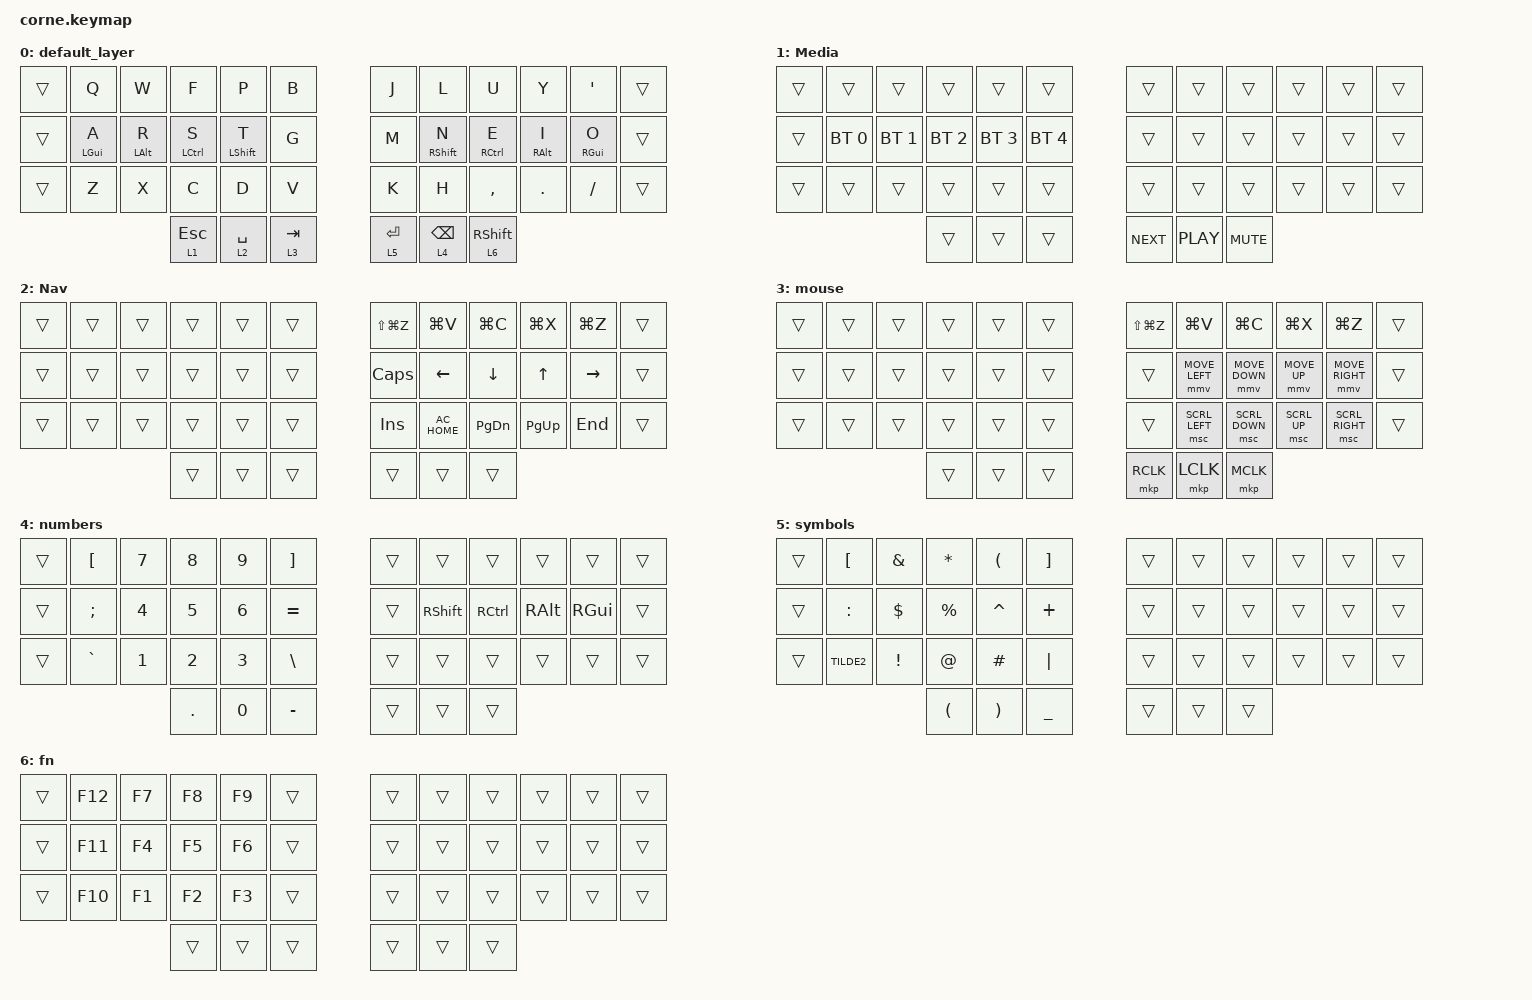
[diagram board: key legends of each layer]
/*
 * Copyright (c) 2020 The ZMK Contributors
 *
 * SPDX-License-Identifier: MIT
 */

#include <behaviors.dtsi>
#include <dt-bindings/zmk/bt.h>
#include <dt-bindings/zmk/keys.h>
#include <dt-bindings/zmk/pointing.h>

&mt {
    tapping-term-ms = <500>;
    flavor = "tap-preferred";
};

&lt { tapping-term-ms = <500>; };

/ {
    keymap {
        compatible = "zmk,keymap";

        default_layer {
            // -----------------------------------------------------------------------------------------
            // |  TAB |  Q  |  W  |  E  |  R  |  T  |   |  Y  |  U   |  I  |  O  |  P  | BSPC |
            // | CTRL |  A  |  S  |  D  |  F  |  G  |   |  H  |  J   |  K  |  L  |  ;  |  '   |
            // | SHFT |  Z  |  X  |  C  |  V  |  B  |   |  N  |  M   |  ,  |  .  |  /  | ESC  |
            //                    | GUI | LWR | SPC |   | ENT | RSE  | ALT |

            bindings = <
&trans  &kp Q           &kp W           &kp F               &kp P             &kp B        &kp J        &kp L              &kp U                &kp Y            &kp SQT          &trans
&trans  &mt LEFT_GUI A  &mt LEFT_ALT R  &mt LEFT_CONTROL S  &mt LEFT_SHIFT T  &kp G        &kp M        &mt RIGHT_SHIFT N  &mt RIGHT_CONTROL E  &mt RIGHT_ALT I  &mt RIGHT_GUI O  &trans
&trans  &kp Z           &kp X           &kp C               &kp D             &kp V        &kp K        &kp H              &kp COMMA            &kp DOT          &kp FSLH         &trans
                                        &lt 1 ESC           &lt 2 SPACE       &lt 3 TAB    &lt 5 ENTER  &lt 4 BACKSPACE    &lt 6 RIGHT_SHIFT
            >;
        };

        Media {
            // -----------------------------------------------------------------------------------------
            // |  TAB |  1  |  2  |  3  |  4  |  5  |   |  6  |  7  |  8  |  9  |  0  | BSPC |
            // | BTCLR| BT1 | BT2 | BT3 | BT4 | BT5 |   | LFT | DWN |  UP | RGT |     |      |
            // | SHFT |     |     |     |     |     |   |     |     |     |     |     |      |
            //                    | GUI |     | SPC |   | ENT |     | ALT |

            bindings = <
&trans  &trans        &trans        &trans        &trans        &trans          &trans      &trans      &trans      &trans  &trans  &trans
&trans  &bt BT_SEL 0  &bt BT_SEL 1  &bt BT_SEL 2  &bt BT_SEL 3  &bt BT_SEL 4    &trans      &trans      &trans      &trans  &trans  &trans
&trans  &trans        &trans        &trans        &trans        &trans          &trans      &trans      &trans      &trans  &trans  &trans
                                    &trans        &trans        &trans          &kp C_NEXT  &kp C_PLAY  &kp C_MUTE
            >;
        };

        Nav {
            bindings = <
&trans  &trans  &trans  &trans  &trans  &trans    &kp LS(LG(Z))  &kp LG(V)      &kp LG(C)       &kp LG(X)     &kp LG(Z)  &trans
&trans  &trans  &trans  &trans  &trans  &trans    &kp CAPSLOCK   &kp LEFT       &kp DOWN_ARROW  &kp UP_ARROW  &kp RIGHT  &trans
&trans  &trans  &trans  &trans  &trans  &trans    &kp INS        &kp C_AC_HOME  &kp PAGE_DOWN   &kp PAGE_UP   &kp END    &trans
                        &trans  &trans  &trans    &trans         &trans         &trans
            >;
        };

        mouse {
            bindings = <
&trans  &trans  &trans  &trans  &trans  &trans    &kp LS(LG(Z))  &kp LG(V)       &kp LG(C)       &kp LG(X)     &kp LG(Z)        &trans
&trans  &trans  &trans  &trans  &trans  &trans    &trans         &mmv MOVE_LEFT  &mmv MOVE_DOWN  &mmv MOVE_UP  &mmv MOVE_RIGHT  &trans
&trans  &trans  &trans  &trans  &trans  &trans    &trans         &msc SCRL_LEFT  &msc SCRL_DOWN  &msc SCRL_UP  &msc SCRL_RIGHT  &trans
                        &trans  &trans  &trans    &mkp RCLK      &mkp LCLK       &mkp MCLK
            >;
        };

        numbers {
            bindings = <
&trans  &kp LBKT   &kp N7  &kp N8      &kp N9  &kp RBKT     &trans  &trans     &trans     &trans    &trans    &trans
&trans  &kp SEMI   &kp N4  &kp N5      &kp N6  &kp EQUAL    &trans  &kp RSHFT  &kp RCTRL  &kp RALT  &kp RGUI  &trans
&trans  &kp GRAVE  &kp N1  &kp N2      &kp N3  &kp BSLH     &trans  &trans     &trans     &trans    &trans    &trans
                           &kp PERIOD  &kp N0  &kp MINUS    &trans  &trans     &trans
            >;
        };

        symbols {
            bindings = <
&trans  &kp LBKT    &kp AMPS    &kp STAR              &kp LEFT_PARENTHESIS   &kp RBKT     &trans  &trans  &trans  &trans  &trans  &trans
&trans  &kp COLON   &kp DOLLAR  &kp PERCENT           &kp CARET              &kp PLUS     &trans  &trans  &trans  &trans  &trans  &trans
&trans  &kp TILDE2  &kp EXCL    &kp AT                &kp HASH               &kp PIPE     &trans  &trans  &trans  &trans  &trans  &trans
                                &kp LEFT_PARENTHESIS  &kp RIGHT_PARENTHESIS  &kp UNDER    &trans  &trans  &trans
            >;
        };

        fn {
            bindings = <
&trans  &kp F12  &kp F7  &kp F8  &kp F9  &trans    &trans  &trans  &trans  &trans  &trans  &trans
&trans  &kp F11  &kp F4  &kp F5  &kp F6  &trans    &trans  &trans  &trans  &trans  &trans  &trans
&trans  &kp F10  &kp F1  &kp F2  &kp F3  &trans    &trans  &trans  &trans  &trans  &trans  &trans
                         &trans  &trans  &trans    &trans  &trans  &trans
            >;
        };
    };
};
